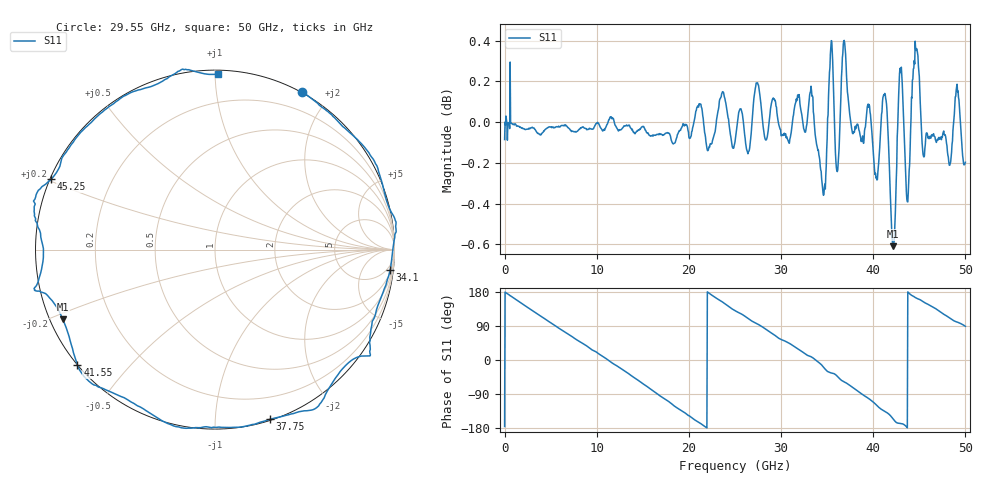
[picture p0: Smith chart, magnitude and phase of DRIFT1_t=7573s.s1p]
!Created with skrf (http://scikit-rf.org).
# Hz S RI R 50.0
!freq ReS11 ImS11
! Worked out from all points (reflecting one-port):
!   1001 points, 300 kHz to 50 GHz, reference 50 ohm
!   lowest |S11| = -0.6 dB at 42.15 GHz (marker M1), VSWR 28.55, Z = 1.83 - j10.9 ohm
!   phase of S11 starts at -176 deg and turns -816 deg over the sweep
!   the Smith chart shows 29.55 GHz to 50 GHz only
!   S11 on the Smith chart (normalised r, x): 29.55 GHz: -0.01, +1.69; 34.1 GHz: 3, -17; 37.75 GHz: 0.01, -1.38; 41.55 GHz: -0.00, -0.36; 45.25 GHz: 0.00, +0.21; 50 GHz: 0.02, +1.02
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300000  -0.9872 -0.0776
1.500291e9  -0.9057 0.4184
3.30028e9  -0.5807 0.809
6.250262e9  0.2019 0.9774
9.500243e9  0.8911 0.4449
1.250022e10  0.9324 -0.3487
1.580021e10  0.2395 -0.9629
1.74002e10  -0.2225 -0.9681
1.875019e10  -0.5968 -0.7936
2.155017e10  -0.9929 -0.1353
2.350016e10  -0.9211 0.4247
2.500015e10  -0.6368 0.7565
2.735014e10  -0.1082 1.016
2.955012e10  0.4855 0.8802
3.125011e10  0.7838 0.6218
3.30501e10  0.9962 0.1852
3.41001e10  0.975 -0.1152
3.520009e10  0.8645 -0.545
3.750008e10  0.3784 -0.9282
3.775007e10  0.3079 -0.9448
3.955006e10  -0.2161 -0.9866
4.155005e10  -0.7664 -0.643
4.215005e10  -0.8476 -0.3884
4.285004e10  -1.002 -0.2289
4.375004e10  -0.9559 0.00509
4.525003e10  -0.913 0.3933
4.770001e10  -0.4983 0.8591
5e10  0.0176 0.9774
